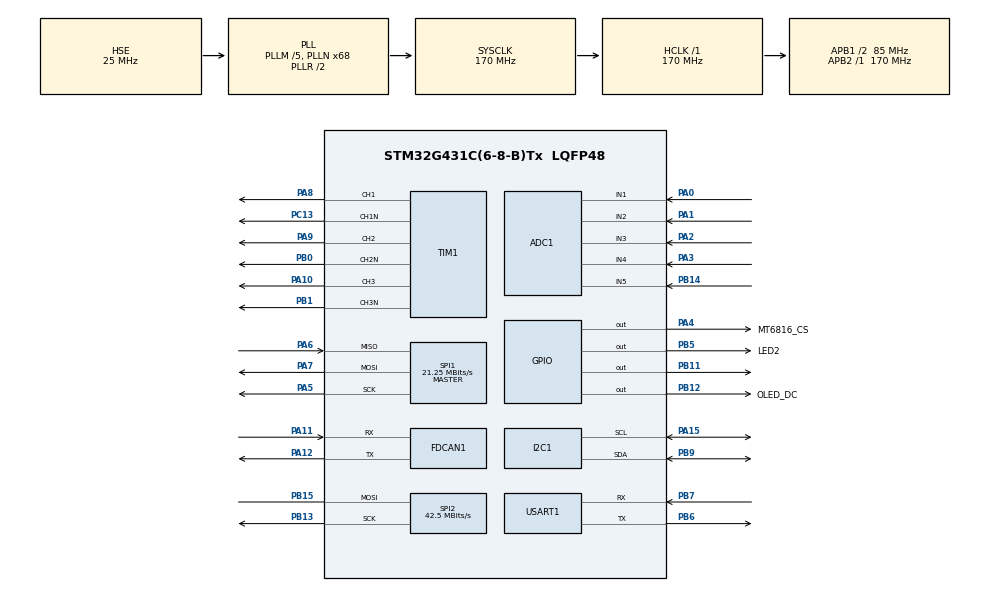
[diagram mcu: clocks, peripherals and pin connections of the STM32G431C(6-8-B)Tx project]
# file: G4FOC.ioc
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ADC1.Channel-0\#ChannelRegularConversion=ADC_CHANNEL_1
ADC1.NbrOfConversionFlag=1
ADC1.OffsetNumber-0\#ChannelRegularConversion=ADC_OFFSET_NONE
ADC1.Rank-0\#ChannelRegularConversion=1
ADC1.SamplingTime-0\#ChannelRegularConversion=ADC_SAMPLETIME_2CYCLES_5
ADC1.master=1
FDCAN1.CalculateBaudRateNominal=1700000
FDCAN1.CalculateTimeBitNominal=588
FDCAN1.CalculateTimeQuantumNominal=23.529411764705884
FDCAN1.DataPrescaler=2
FDCAN1.DataSyncJumpWidth=6
FDCAN1.DataTimeSeg1=18
FDCAN1.DataTimeSeg2=6
FDCAN1.ExtFiltersNbr=1
FDCAN1.NominalPrescaler=2
FDCAN1.NominalSyncJumpWidth=6
FDCAN1.NominalTimeSeg1=18
FDCAN1.NominalTimeSeg2=6
FDCAN1.StdFiltersNbr=1
I2C1.Timing=0x10E1A6F2
Mcu.Family=STM32G4
Mcu.Name=STM32G431C(6-8-B)Tx
Mcu.Package=LQFP48
NVIC.FDCAN1_IT0_IRQn=true\:0\:0\:false\:false\:true\:true\:true\:true
NVIC.PriorityGroup=NVIC_PRIORITYGROUP_4
PA0.Mode=IN1-Single-Ended
PA0.Signal=ADC1_IN1
PA1.Mode=IN2-Single-Ended
PA1.Signal=ADC1_IN2
PA10.Signal=S_TIM1_CH3
PA11.Mode=FDCAN_Activate
PA11.Signal=FDCAN1_RX
PA12.Mode=FDCAN_Activate
PA12.Signal=FDCAN1_TX
PA13.Mode=Serial_Wire
PA13.Signal=SYS_JTMS-SWDIO
PA14.Mode=Serial_Wire
PA14.Signal=SYS_JTCK-SWCLK
PA15.Mode=I2C
PA15.Signal=I2C1_SCL
PA2.Mode=IN3-Single-Ended
PA2.Signal=ADC1_IN3
PA3.Mode=IN4-Single-Ended
PA3.Signal=ADC1_IN4
PA4.GPIO_Label=MT6816_CS
PA4.Signal=GPIO_Output
PA5.Mode=Full_Duplex_Master
PA5.Signal=SPI1_SCK
PA6.Mode=Full_Duplex_Master
PA6.Signal=SPI1_MISO
PA7.Mode=Full_Duplex_Master
PA7.Signal=SPI1_MOSI
PA8.Signal=S_TIM1_CH1
PA9.Signal=S_TIM1_CH2
PB0.Mode=PWM Generation2 CH2 CH2N
PB0.Signal=TIM1_CH2N
PB1.Mode=PWM Generation3 CH3 CH3N
PB1.Signal=TIM1_CH3N
PB11.Signal=GPIO_Output
PB12.GPIO_Label=OLED_DC
PB12.Signal=GPIO_Output
PB13.Mode=Simplex_Bidirectional_Master
PB13.Signal=SPI2_SCK
PB14.Mode=IN5-Single-Ended
PB14.Signal=ADC1_IN5
PB15.Mode=Simplex_Bidirectional_Master
PB15.Signal=SPI2_MOSI
PB5.GPIO_Label=LED2
PB5.Signal=GPIO_Output
PB6.Mode=Asynchronous
PB6.Signal=USART1_TX
PB7.Mode=Asynchronous
PB7.Signal=USART1_RX
PB9.Mode=I2C
PB9.Signal=I2C1_SDA
PC13.Mode=PWM Generation1 CH1 CH1N
PC13.Signal=TIM1_CH1N
PC14-OSC32_IN.Mode=LSE-External-Oscillator
PC14-OSC32_IN.Signal=RCC_OSC32_IN
PC15-OSC32_OUT.Mode=LSE-External-Oscillator
PC15-OSC32_OUT.Signal=RCC_OSC32_OUT
PF0-OSC_IN.Mode=HSE-External-Oscillator
PF0-OSC_IN.Signal=RCC_OSC_IN
PF1-OSC_OUT.Mode=HSE-External-Oscillator
PF1-OSC_OUT.Signal=RCC_OSC_OUT
ProjectManager.HeapSize=0x200
ProjectManager.StackSize=0x400
ProjectManager.TargetToolchain=MDK-ARM V5.32
RCC.ADC12Freq_Value=170000000
RCC.AHBFreq_Value=170000000
RCC.APB1CLKDivider=RCC_HCLK_DIV2
RCC.APB1Freq_Value=85000000
RCC.APB1TimFreq_Value=170000000
RCC.APB2Freq_Value=170000000
RCC.APB2TimFreq_Value=170000000
RCC.CortexFreq_Value=170000000
RCC.EXTERNAL_CLOCK_VALUE=12288000
RCC.FDCANCLockSelection=RCC_FDCANCLKSOURCE_PLL
RCC.HCLKFreq_Value=170000000
RCC.HSE_VALUE=25000000
RCC.HSI48_VALUE=48000000
RCC.HSI_VALUE=16000000
RCC.PLLM=RCC_PLLM_DIV5
RCC.PLLN=68
RCC.PLLQ=RCC_PLLQ_DIV4
RCC.PLLSourceVirtual=RCC_PLLSOURCE_HSE
RCC.SYSCLKFreq_VALUE=170000000
RCC.SYSCLKSource=RCC_SYSCLKSOURCE_PLLCLK
RCC.USBFreq_Value=85000000
RCC.VCOOutputFreq_Value=340000000
SH.S_TIM1_CH1.0=TIM1_CH1,PWM Generation1 CH1 CH1N
SH.S_TIM1_CH2.0=TIM1_CH2,PWM Generation2 CH2 CH2N
SH.S_TIM1_CH3.0=TIM1_CH3,PWM Generation3 CH3 CH3N
SPI1.BaudRatePrescaler=SPI_BAUDRATEPRESCALER_8
SPI1.CLKPhase=SPI_PHASE_2EDGE
SPI1.CLKPolarity=SPI_POLARITY_HIGH
SPI1.CalculateBaudRate=21.25 MBits/s
SPI1.DataSize=SPI_DATASIZE_16BIT
SPI1.Direction=SPI_DIRECTION_2LINES
SPI1.Mode=SPI_MODE_MASTER
SPI1.VirtualType=VM_MASTER
SPI2.CalculateBaudRate=42.5 MBits/s
SPI2.Direction=SPI_DIRECTION_1LINE
SPI2.Mode=SPI_MODE_MASTER
SPI2.VirtualType=VM_MASTER
TIM1.Channel-PWM\ Generation1\ CH1\ CH1N=TIM_CHANNEL_1
TIM1.Channel-PWM\ Generation2\ CH2\ CH2N=TIM_CHANNEL_2
TIM1.Channel-PWM\ Generation3\ CH3\ CH3N=TIM_CHANNEL_3
USART1.VirtualMode-Asynchronous=VM_ASYNC
VP_SYS_VS_DBSignals.Mode=DisableDeadBatterySignals
board=custom

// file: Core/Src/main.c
/* USER CODE BEGIN Header */
/**
  ******************************************************************************
  * @file           : main.c
  * @brief          : Main program body
  ******************************************************************************
  * @attention
  *
  * Copyright (c) 2025 STMicroelectronics.
  * All rights reserved.
  *
  * This software is licensed under terms that can be found in the LICENSE file
  * in the root directory of this software component.
  * If no LICENSE file comes with this software, it is provided AS-IS.
  *
  ******************************************************************************
  */
/* USER CODE END Header */
#include "main.h"
#include "adc.h"
#include "fdcan.h"
#include "i2c.h"
#include "spi.h"
#include "tim.h"
#include "usart.h"
#include "gpio.h"

/* USER CODE BEGIN Includes */
#include "cybergear.h"
#include "MT6816.h"
/* USER CODE END Includes */

/* USER CODE BEGIN PTD */
float ANGLE=0.0f;
uint16_t angle_high, angle_low;
uint16_t angle;
uint16_t rx_data1 = 0;
MT6816 cv;
uint16_t spi_send_receive(uint16_t data)
{

    HAL_GPIO_WritePin(MT6816_CS_GPIO_Port, MT6816_CS_Pin , GPIO_PIN_RESET); // CSN = LOW
    HAL_SPI_TransmitReceive(&hspi1, (uint8_t*)&data, (uint8_t*)&rx_data1, 1, HAL_MAX_DELAY);
	//HAL_SPI_Transmit(&hspi1, (uint8_t*)&data,1,HAL_MAX_DELAY);
    HAL_GPIO_WritePin(MT6816_CS_GPIO_Port, MT6816_CS_Pin, GPIO_PIN_SET); // CSN = HIGH
    return rx_data1;
}

float MT6816_ReadAngle(void)
{
    //uint16_t angle_high, angle_low;

    angle_high = spi_send_receive(0x8300); // Read 0x03
    angle_low  = spi_send_receive(0x8400); // Read 0x04

    angle = ((angle_high << 6) | (angle_low >> 2))&0x1FFF;
	float degree = angle/16384.0f*360.0f;
    return degree; // 范围：0~16383
}

/* USER CODE END PTD */

void SystemClock_Config(void);

int main(void)
{

  /* MCU Configuration--------------------------------------------------------*/

  /* Reset of all peripherals, Initializes the Flash interface and the Systick. */
  HAL_Init();

  /* Configure the system clock */
  SystemClock_Config();

  /* Initialize all configured peripherals */
  MX_GPIO_Init();
  MX_ADC1_Init();
  MX_I2C1_Init();
  MX_SPI1_Init();
  MX_SPI2_Init();
  MX_TIM1_Init();
  MX_USART1_UART_Init();
  MX_FDCAN1_Init();
  /* USER CODE BEGIN 2 */
  initMT6816(&cv,&hspi1);
  HAL_GPIO_WritePin(LED2_GPIO_Port,LED2_Pin,GPIO_PIN_SET);
  HAL_Delay(3000);
  HAL_GPIO_WritePin(LED2_GPIO_Port,LED2_Pin,GPIO_PIN_RESET);
  //can_bsp_init();
  /* USER CODE END 2 */

  /* Infinite loop */
  /* USER CODE BEGIN WHILE */

  //HAL_FDCAN_Start(&hfdcan1);

  init_cybergear(&mi_motor[1], 0x01, Position_mode);
  while (1)
  {
    /* USER CODE END WHILE */

    /* USER CODE BEGIN 3 */
	//ANGLE = MT6816_ReadAngle();
	  updateMT6816(&cv);
	//HAL_Delay(10);
}
  /* USER CODE END 3 */
}

void SystemClock_Config(void)
{
  RCC_OscInitTypeDef RCC_OscInitStruct = {0};
  RCC_ClkInitTypeDef RCC_ClkInitStruct = {0};

  /** Configure the main internal regulator output voltage
  */
  HAL_PWREx_ControlVoltageScaling(PWR_REGULATOR_VOLTAGE_SCALE1_BOOST);

  /** Initializes the RCC Oscillators according to the specified parameters
  * in the RCC_OscInitTypeDef structure.
  */
  RCC_OscInitStruct.OscillatorType = RCC_OSCILLATORTYPE_HSE;
  RCC_OscInitStruct.HSEState = RCC_HSE_ON;
  RCC_OscInitStruct.PLL.PLLState = RCC_PLL_ON;
  RCC_OscInitStruct.PLL.PLLSource = RCC_PLLSOURCE_HSE;
  RCC_OscInitStruct.PLL.PLLM = RCC_PLLM_DIV5;
  RCC_OscInitStruct.PLL.PLLN = 68;
  RCC_OscInitStruct.PLL.PLLP = RCC_PLLP_DIV2;
  RCC_OscInitStruct.PLL.PLLQ = RCC_PLLQ_DIV4;
  RCC_OscInitStruct.PLL.PLLR = RCC_PLLR_DIV2;
  if (HAL_RCC_OscConfig(&RCC_OscInitStruct) != HAL_OK)
  {
    Error_Handler();
  }

  /** Initializes the CPU, AHB and APB buses clocks
  */
  RCC_ClkInitStruct.ClockType = RCC_CLOCKTYPE_HCLK|RCC_CLOCKTYPE_SYSCLK
                              |RCC_CLOCKTYPE_PCLK1|RCC_CLOCKTYPE_PCLK2;
  RCC_ClkInitStruct.SYSCLKSource = RCC_SYSCLKSOURCE_PLLCLK;
  RCC_ClkInitStruct.AHBCLKDivider = RCC_SYSCLK_DIV1;
  RCC_ClkInitStruct.APB1CLKDivider = RCC_HCLK_DIV2;
  RCC_ClkInitStruct.APB2CLKDivider = RCC_HCLK_DIV1;

  if (HAL_RCC_ClockConfig(&RCC_ClkInitStruct, FLASH_LATENCY_4) != HAL_OK)
  {
    Error_Handler();
  }
}

void Error_Handler(void)
{
  __disable_irq();
  while (1)
  {
  }
}
